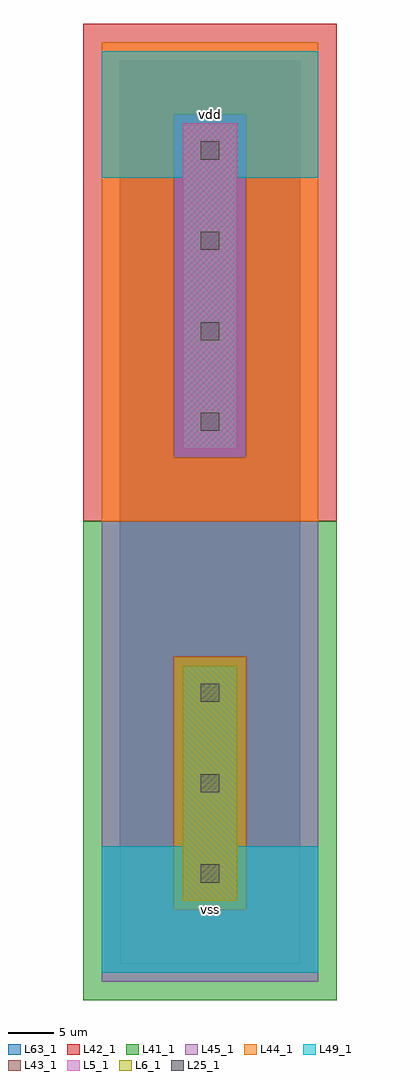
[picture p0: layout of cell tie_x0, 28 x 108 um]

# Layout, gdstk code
import gdstk
lib = gdstk.Library(unit=1e-6, precision=1e-09)
def R(c, l, rs):  # rectangles x0, y0, x1, y1
    for r in rs: c.add(gdstk.rectangle(r[:2], r[2:], *l))
def A(c, l, x, y, w, h, nx, ny, dx, dy):  # array of equal rectangles
    R(c, l, [(x+i*dx, y+j*dy, x+i*dx+w, y+j*dy+h) for i in range(nx) for j in range(ny)])
L5_1 = (5, 1)
L6_1 = (6, 1)
L25_1 = (25, 1)
L41_1 = (41, 1)
L42_1 = (42, 1)
L43_1 = (43, 1)
L44_1 = (44, 1)
L45_1 = (45, 1)
L49_1 = (49, 1)
L63_1 = (63, 1)

tie_x0 = lib.new_cell('tie_x0')
R(tie_x0, L5_1, [(7,57,13,93)])
R(tie_x0, L6_1, [(7,7,13,33)])
A(tie_x0, L25_1, 9, 9, 2, 2, 1, 3, 0, 10)
A(tie_x0, L25_1, 9, 59, 2, 2, 1, 4, 0, 10)
R(tie_x0, L41_1, [(-4,-4,24,49)])
R(tie_x0, L42_1, [(-4,49,24,104)])
R(tie_x0, L43_1, [(7,7,13,33), (7,57,13,93)])
R(tie_x0, L44_1, [(6,6,14,34), (-2,49,22,56), (-2,56,6,94), (14,56,22,94), (-2,94,22,102)])
R(tie_x0, L45_1, [(-2,-2,22,6), (-2,6,6,34), (14,6,22,34), (-2,34,22,49), (6,56,14,94)])
R(tie_x0, L49_1, [(-2,-1,22,13), (7,13,13,33), (7,57,13,87), (-2,87,22,101)])
R(tie_x0, L63_1, [(0,0,20,100)])
tie_x0.add(gdstk.Label('vss', (10,6), layer=49, texttype=1))
tie_x0.add(gdstk.Label('vss', (10,6), layer=49, texttype=1))
tie_x0.add(gdstk.Label('vdd', (10,94), layer=49, texttype=1))
tie_x0.add(gdstk.Label('vdd', (10,94), layer=49, texttype=1))

lib.write_gds('tie_x0.gds')
